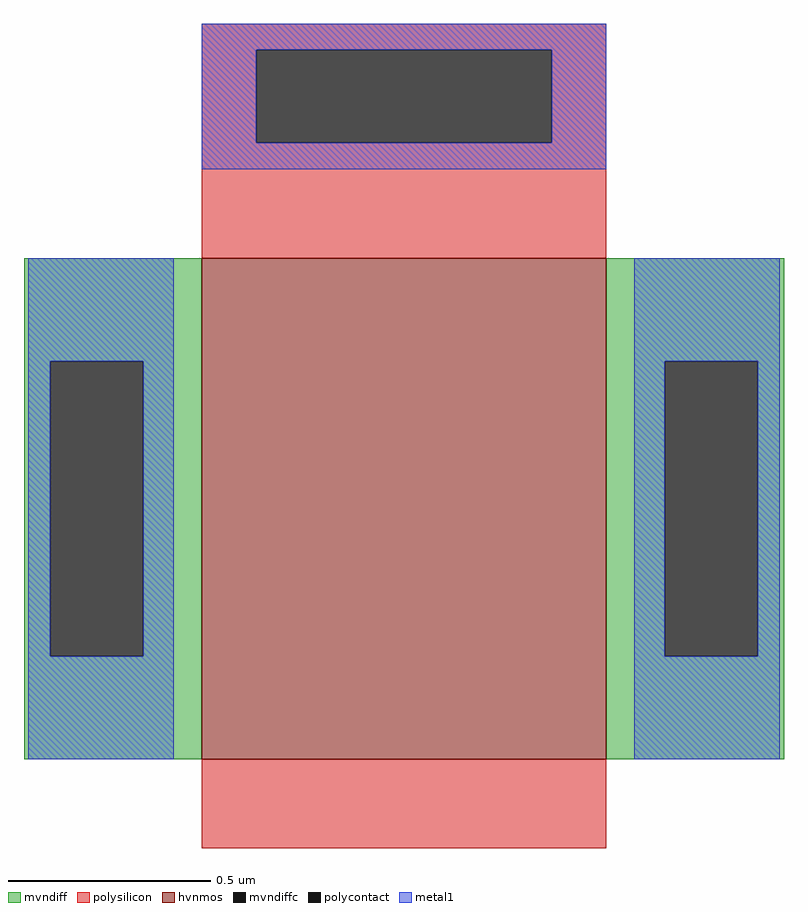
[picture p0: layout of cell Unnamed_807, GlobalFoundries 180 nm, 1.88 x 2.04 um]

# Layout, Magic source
magic
tech gf180mcuD
magscale 1 10
<< hvnmos >>
rect 14 0 214 248
<< mvndiff >>
rect -74 197 14 248
rect -74 51 -61 197
rect -15 51 14 197
rect -74 0 14 51
rect 214 197 302 248
rect 214 51 243 197
rect 289 51 302 197
rect 214 0 302 51
<< mvndiffc >>
rect -61 51 -15 197
rect 243 51 289 197
<< polysilicon >>
rect 14 351 214 364
rect 14 305 41 351
rect 187 305 214 351
rect 14 248 214 305
rect 14 -44 214 0
<< polycontact >>
rect 41 305 187 351
<< metal1 >>
rect 14 351 214 364
rect 14 305 41 351
rect 187 305 214 351
rect 14 292 214 305
rect -72 197 0 248
rect -72 51 -61 197
rect -15 51 0 197
rect -72 0 0 51
rect 228 197 300 248
rect 228 51 243 197
rect 289 51 300 197
rect 228 0 300 51
<< end >>
